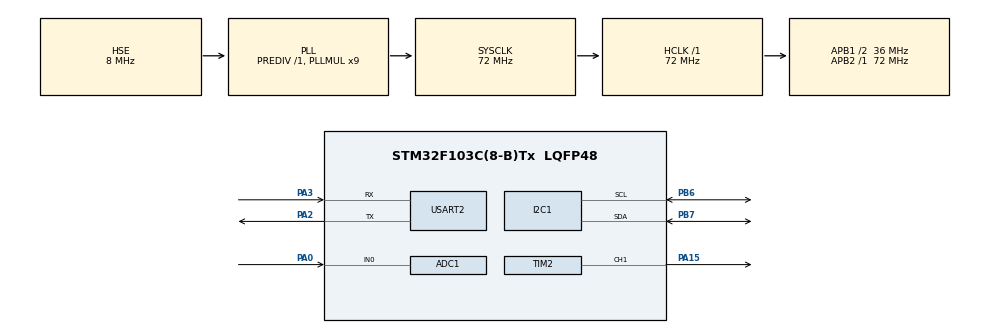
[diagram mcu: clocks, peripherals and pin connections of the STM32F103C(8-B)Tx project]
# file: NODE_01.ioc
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ADC1.Channel-0\#ChannelRegularConversion=ADC_CHANNEL_0
ADC1.ContinuousConvMode=ENABLE
ADC1.NbrOfConversionFlag=1
ADC1.Rank-0\#ChannelRegularConversion=1
ADC1.SamplingTime-0\#ChannelRegularConversion=ADC_SAMPLETIME_1CYCLE_5
ADC1.master=1
I2C1.I2C_Mode=I2C_Fast
Mcu.Family=STM32F1
Mcu.Name=STM32F103C(8-B)Tx
Mcu.Package=LQFP48
NVIC.PriorityGroup=NVIC_PRIORITYGROUP_4
NVIC.TIM2_IRQn=true\:0\:0\:false\:false\:true\:true\:true\:true
PA0-WKUP.Signal=ADCx_IN0
PA13.Mode=Serial_Wire
PA13.Signal=SYS_JTMS-SWDIO
PA14.Mode=Serial_Wire
PA14.Signal=SYS_JTCK-SWCLK
PA15.Signal=S_TIM2_CH1_ETR
PA2.Mode=Asynchronous
PA2.Signal=USART2_TX
PA3.Mode=Asynchronous
PA3.Signal=USART2_RX
PB6.Mode=I2C
PB6.Signal=I2C1_SCL
PB7.Mode=I2C
PB7.Signal=I2C1_SDA
PD0-OSC_IN.Mode=HSE-External-Oscillator
PD0-OSC_IN.Signal=RCC_OSC_IN
PD1-OSC_OUT.Mode=HSE-External-Oscillator
PD1-OSC_OUT.Signal=RCC_OSC_OUT
ProjectManager.HeapSize=0x200
ProjectManager.StackSize=0x400
ProjectManager.TargetToolchain=STM32CubeIDE
RCC.ADCPresc=RCC_ADCPCLK2_DIV6
RCC.AHBFreq_Value=72000000
RCC.APB1CLKDivider=RCC_HCLK_DIV2
RCC.APB1Freq_Value=36000000
RCC.APB1TimFreq_Value=72000000
RCC.APB2Freq_Value=72000000
RCC.APB2TimFreq_Value=72000000
RCC.HCLKFreq_Value=72000000
RCC.PLLMUL=RCC_PLL_MUL9
RCC.PLLSourceVirtual=RCC_PLLSOURCE_HSE
RCC.SYSCLKFreq_VALUE=72000000
RCC.SYSCLKSource=RCC_SYSCLKSOURCE_PLLCLK
RCC.USBFreq_Value=72000000
SH.ADCx_IN0.0=ADC1_IN0,IN0
SH.S_TIM2_CH1_ETR.0=TIM2_CH1,PWM Generation1 CH1
TIM2.Channel-PWM\ Generation1\ CH1=TIM_CHANNEL_1
TIM2.Period=255-1
TIM2.Prescaler=1107-1
USART2.VirtualMode=VM_ASYNC
VP_TIM2_VS_ClockSourceINT.Mode=Internal
board=custom

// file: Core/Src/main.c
#include "main.h"

/* USER CODE BEGIN Includes */
#include "fonts.h"
#include "ssd1306.h"
#include "BME280_STM32.h"
#include <stdio.h>
#include <string.h>
#include <stdlib.h>
#include <stdbool.h>
#include <string.h>
#include <stdio.h>

/* USER CODE END Includes */
/* USER CODE BEGIN PD */
//void HAL_TIM_PeriodElapsedCallback(TIM_HandleTypeDef *htim);
/* USER CODE END PD */

ADC_HandleTypeDef hadc1;

I2C_HandleTypeDef hi2c1;

TIM_HandleTypeDef htim2;

UART_HandleTypeDef huart2;

/* USER CODE BEGIN PV */

float Temperature, Pressure, Humidity; //VARIABLES TO STORE BME READINGS
uint16_t size; //BME
uint16_t raw_ldr; //LDR
volatile uint8_t buzzerDutyCycle = 0;  // the value for the duty cycle
//---------------------------------------BUFFERS---------------------------------//
char bme[128]; //BME BUFFER FOR TRANSMISSION TO UART
char msg_tx[80]; //UART
char ldr_string[20];
char temp_string[20];
char humidity_string[20];
char channel_id[]="2322752";
/* USER CODE END PV */

void SystemClock_Config(void); //initializes the RCC (Reset and Clock Control) configuration to set up the system clock.
static void MX_GPIO_Init(void); //configures the GPIO ports and pins based on the requirements of the application.
static void MX_ADC1_Init(void); //configures the ADC settings, such as the conversion mode, sampling time, and the specific ADC channel to be used.
static void MX_I2C1_Init(void); //configures the I2C parameters, such as clock speed, duty cycle, and addressing mode.
static void MX_USART2_UART_Init(void); //configures the UART settings, including baud rate, word length, stop bits, and parity.
static void MX_TIM2_Init(void); //configures the timer settings, such as the prescaler, counter mode, and the period.
								//In this specific code, it's used for PWM generation and triggering periodic tasks.

int main(void)
{
  /* MCU Configuration--------------------------------------------------------*/

  /* Reset of all peripherals, Initializes the Flash interface and the Systick. */
  HAL_Init();

  /* Configure the system clock */
  SystemClock_Config();

  /* Initialize all configured peripherals */
  MX_GPIO_Init();
  MX_ADC1_Init();
  MX_I2C1_Init();
  MX_USART2_UART_Init();
  MX_TIM2_Init();
  SSD1306_Init();
  /* USER CODE BEGIN 2 */
  HAL_ADC_Start(&hadc1); //starts ldr sensor
  BME280_Config(OSRS_2, OSRS_16, OSRS_1, MODE_NORMAL, T_SB_0p5, IIR_16); //	CONFIGURES REGISTERS FOR BME280
  HAL_TIM_PWM_Start(&htim2, TIM_CHANNEL_1); //INTIALIZING PWM FOR BUZZER
  HAL_TIM_Base_Start_IT(&htim2); // INITIALIZING ON TIMER(INTERNAL INTERRUPT)
/* USER CODE END 2 */
  /* USER CODE BEGIN WHILE */
  while (1)
  {
    /* USER CODE BEGIN 3 */
  //-----------------------------------LDR--------------------------------//
  	  HAL_ADC_PollForConversion(&hadc1, HAL_MAX_DELAY); //starts converting adc values
  	  raw_ldr=HAL_ADC_GetValue(&hadc1); //receives ldr values and store in raw_ldr

  //-----------------------------------BME-------------------------------//
  	  const char* measurement = BME280_Measure(); //READS VALUES FROM BME280
  	  strcpy(bme, measurement); //copy the content of the measurement string into the character array bme.
  	//----------------------------------OLED------------------------------------------------//
  	sprintf(ldr_string, "LDR %hu lux ", raw_ldr);// Format LDR (Light Dependent Resistor) reading into a string
  	sprintf(temp_string, "Temperature %.2f C ", Temperature);  	// Format temperature reading into a string
  	sprintf(humidity_string, "Humidity %.2f", Humidity);// Format humidity reading into a string
  	// Set the cursor position on the OLED display and display LDR information
  	SSD1306_GotoXY (0, 0);
  	SSD1306_Puts (ldr_string, &Font_7x10, 1);
  	// Set the cursor position on the OLED display and display temperature information
  	SSD1306_GotoXY (0, 20);
  	SSD1306_Puts (temp_string, &Font_7x10, 1);
  	// Set the cursor position on the OLED display and display humidity information
  	SSD1306_GotoXY (0, 40);
  	SSD1306_Puts (humidity_string, &Font_7x10, 1);
  	SSD1306_UpdateScreen();// Update the OLED screen to reflect the changes made

  	  //--------------------------UART-FINAL-CSV-----------------------------//
  	  sprintf(msg_tx, "%hu,%.2f,%.2f,%d,%s\r\n", raw_ldr, Temperature, Humidity, channel_id);//converting values into a string (CSV) format
  	  HAL_UART_Transmit(&huart2, (uint8_t*)msg_tx, strlen(msg_tx), HAL_MAX_DELAY);//TRANSMITTING THE CONVERTED VALUES THROUGH UART TO ESP8266
  	  HAL_Delay(3000);
    }
  /* USER CODE END 3 */
}
//-------------------------------TIMER INTERRUPT-BUZZER----------------------------//
void HAL_TIM_PeriodElapsedCallback(TIM_HandleTypeDef *htim)
{
  if (htim->Instance == TIM2)// Check if the callback is triggered by Timer 2
  {
    /* Check if the temperature is above 30 degrees */
    if (Temperature > 30)
    {
      /* Gradually increase the duty cycle */
      if (buzzerDutyCycle < 255)// Ensure the duty cycle does not exceed its maximum value (255)
      {
        buzzerDutyCycle += 20;  // Increase the duty cycle by 20
        htim2.Instance->CCR1 = buzzerDutyCycle;  // Set the duty cycle
      }
    }
    else
    {
      /* Reset the duty cycle when temperature is below 30 */
      buzzerDutyCycle = 0;
      htim2.Instance->CCR1 = buzzerDutyCycle;  // Set the duty cycle to 0
    }
  }
}
void SystemClock_Config(void)
{
  RCC_OscInitTypeDef RCC_OscInitStruct = {0};
  RCC_ClkInitTypeDef RCC_ClkInitStruct = {0};
  RCC_PeriphCLKInitTypeDef PeriphClkInit = {0};

  /** Initializes the RCC Oscillators according to the specified parameters
  * in the RCC_OscInitTypeDef structure.
  */
  RCC_OscInitStruct.OscillatorType = RCC_OSCILLATORTYPE_HSE;
  RCC_OscInitStruct.HSEState = RCC_HSE_ON;
  RCC_OscInitStruct.HSEPredivValue = RCC_HSE_PREDIV_DIV1;
  RCC_OscInitStruct.HSIState = RCC_HSI_ON;
  RCC_OscInitStruct.PLL.PLLState = RCC_PLL_ON;
  RCC_OscInitStruct.PLL.PLLSource = RCC_PLLSOURCE_HSE;
  RCC_OscInitStruct.PLL.PLLMUL = RCC_PLL_MUL9;
  if (HAL_RCC_OscConfig(&RCC_OscInitStruct) != HAL_OK)
  {
    Error_Handler();
  }

  /** Initializes the CPU, AHB and APB buses clocks
  */
  RCC_ClkInitStruct.ClockType = RCC_CLOCKTYPE_HCLK|RCC_CLOCKTYPE_SYSCLK
                              |RCC_CLOCKTYPE_PCLK1|RCC_CLOCKTYPE_PCLK2;
  RCC_ClkInitStruct.SYSCLKSource = RCC_SYSCLKSOURCE_PLLCLK;
  RCC_ClkInitStruct.AHBCLKDivider = RCC_SYSCLK_DIV1;
  RCC_ClkInitStruct.APB1CLKDivider = RCC_HCLK_DIV2;
  RCC_ClkInitStruct.APB2CLKDivider = RCC_HCLK_DIV1;

  if (HAL_RCC_ClockConfig(&RCC_ClkInitStruct, FLASH_LATENCY_2) != HAL_OK)
  {
    Error_Handler();
  }
  PeriphClkInit.PeriphClockSelection = RCC_PERIPHCLK_ADC;
  PeriphClkInit.AdcClockSelection = RCC_ADCPCLK2_DIV6;
  if (HAL_RCCEx_PeriphCLKConfig(&PeriphClkInit) != HAL_OK)
  {
    Error_Handler();
  }
}

static void MX_ADC1_Init(void)
{

  ADC_ChannelConfTypeDef sConfig = {0};

  /** Common config
  */
  hadc1.Instance = ADC1;
  hadc1.Init.ScanConvMode = ADC_SCAN_DISABLE;
  hadc1.Init.ContinuousConvMode = ENABLE;
  hadc1.Init.DiscontinuousConvMode = DISABLE;
  hadc1.Init.ExternalTrigConv = ADC_SOFTWARE_START;
  hadc1.Init.DataAlign = ADC_DATAALIGN_RIGHT;
  hadc1.Init.NbrOfConversion = 1;
  if (HAL_ADC_Init(&hadc1) != HAL_OK)
  {
    Error_Handler();
  }

  /** Configure Regular Channel
  */
  sConfig.Channel = ADC_CHANNEL_0;
  sConfig.Rank = ADC_REGULAR_RANK_1;
  sConfig.SamplingTime = ADC_SAMPLETIME_1CYCLE_5;
  if (HAL_ADC_ConfigChannel(&hadc1, &sConfig) != HAL_OK)
  {
    Error_Handler();
  }

}

static void MX_I2C1_Init(void)
{

  hi2c1.Instance = I2C1;
  hi2c1.Init.ClockSpeed = 400000;
  hi2c1.Init.DutyCycle = I2C_DUTYCYCLE_2;
  hi2c1.Init.OwnAddress1 = 0;
  hi2c1.Init.AddressingMode = I2C_ADDRESSINGMODE_7BIT;
  hi2c1.Init.DualAddressMode = I2C_DUALADDRESS_DISABLE;
  hi2c1.Init.OwnAddress2 = 0;
  hi2c1.Init.GeneralCallMode = I2C_GENERALCALL_DISABLE;
  hi2c1.Init.NoStretchMode = I2C_NOSTRETCH_DISABLE;
  if (HAL_I2C_Init(&hi2c1) != HAL_OK)
  {
    Error_Handler();
  }

}

static void MX_TIM2_Init(void)
{

  TIM_ClockConfigTypeDef sClockSourceConfig = {0};
  TIM_MasterConfigTypeDef sMasterConfig = {0};
  TIM_OC_InitTypeDef sConfigOC = {0};

  htim2.Instance = TIM2;
  htim2.Init.Prescaler = 1107-1;
  htim2.Init.CounterMode = TIM_COUNTERMODE_UP;
  htim2.Init.Period = 255-1;
  htim2.Init.ClockDivision = TIM_CLOCKDIVISION_DIV1;
  htim2.Init.AutoReloadPreload = TIM_AUTORELOAD_PRELOAD_DISABLE;
  if (HAL_TIM_Base_Init(&htim2) != HAL_OK)
  {
    Error_Handler();
  }
  sClockSourceConfig.ClockSource = TIM_CLOCKSOURCE_INTERNAL;
  if (HAL_TIM_ConfigClockSource(&htim2, &sClockSourceConfig) != HAL_OK)
  {
    Error_Handler();
  }
  if (HAL_TIM_PWM_Init(&htim2) != HAL_OK)
  {
    Error_Handler();
  }
  sMasterConfig.MasterOutputTrigger = TIM_TRGO_RESET;
  sMasterConfig.MasterSlaveMode = TIM_MASTERSLAVEMODE_DISABLE;
  if (HAL_TIMEx_MasterConfigSynchronization(&htim2, &sMasterConfig) != HAL_OK)
  {
    Error_Handler();
  }
  sConfigOC.OCMode = TIM_OCMODE_PWM1;
  sConfigOC.Pulse = 0;
  sConfigOC.OCPolarity = TIM_OCPOLARITY_HIGH;
  sConfigOC.OCFastMode = TIM_OCFAST_DISABLE;
  if (HAL_TIM_PWM_ConfigChannel(&htim2, &sConfigOC, TIM_CHANNEL_1) != HAL_OK)
  {
    Error_Handler();
  }
  HAL_TIM_MspPostInit(&htim2);

}

static void MX_USART2_UART_Init(void)
{

  huart2.Instance = USART2;
  huart2.Init.BaudRate = 115200;
  huart2.Init.WordLength = UART_WORDLENGTH_8B;
  huart2.Init.StopBits = UART_STOPBITS_1;
  huart2.Init.Parity = UART_PARITY_NONE;
  huart2.Init.Mode = UART_MODE_TX_RX;
  huart2.Init.HwFlowCtl = UART_HWCONTROL_NONE;
  huart2.Init.OverSampling = UART_OVERSAMPLING_16;
  if (HAL_UART_Init(&huart2) != HAL_OK)
  {
    Error_Handler();
  }

}

static void MX_GPIO_Init(void)
{

  /* GPIO Ports Clock Enable */
  __HAL_RCC_GPIOD_CLK_ENABLE();
  __HAL_RCC_GPIOA_CLK_ENABLE();
  __HAL_RCC_GPIOB_CLK_ENABLE();

}

void Error_Handler(void)
{
  __disable_irq();
  while (1)
  {
  }
}
